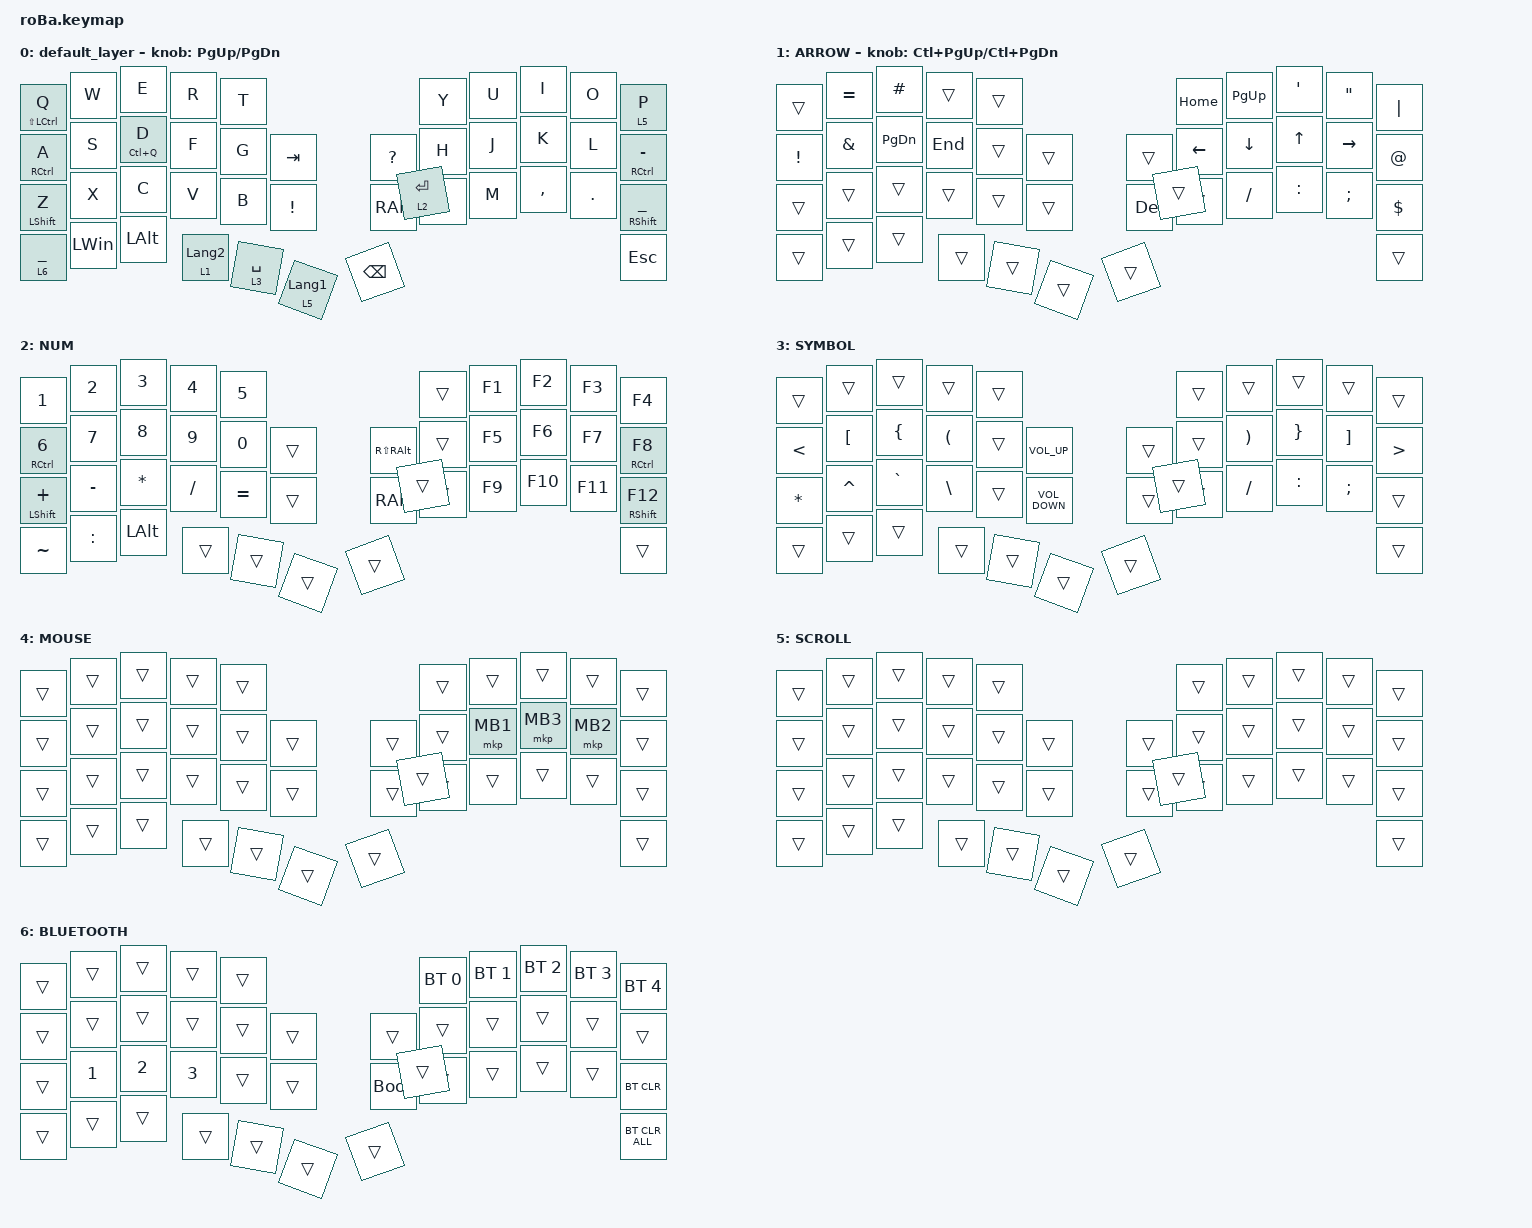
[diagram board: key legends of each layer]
#include <input/processors.dtsi>
#include <behaviors.dtsi>
#include <dt-bindings/zmk/bt.h>
#include <dt-bindings/zmk/keys.h>
#include <dt-bindings/zmk/pointing.h>

&mt {
    flavor = "balanced";
    quick-tap-ms = <0>;
};

&trackball {
    scroll-layers = <5>;

    // arrows {
    //     layers = <3>;
    //     bindings =
    //         <&kp RIGHT_ARROW>,
    //         <&kp LEFT_ARROW>,
    //         <&kp UP_ARROW>,
    //         <&kp DOWN_ARROW>;
    //     tick = <10>;
    //     wait-ms = <5>;
    //     tap-ms = <5>;
    // };
};

&mkp_input_listener { input-processors = <&automouse_temp_layer 4 700>; };

/ {
    combos {
        compatible = "zmk,combos";

        shft+up {
            bindings = <&kp RS(UP_ARROW)>;
            key-positions = <19 20>;
        };
    };

    macros {
        to_layer_0: to_layer_0 {
            compatible = "zmk,behavior-macro-one-param";
            #binding-cells = <1>;
            bindings = <&to 0 &macro_param_1to1 &kp MACRO_PLACEHOLDER>;
            label = "TO_LAYER_0";
        };
    };

    behaviors {
        lt_to_layer_0: lt_to_layer_0 {
            compatible = "zmk,behavior-hold-tap";
            label = "LAYER_TAP_TO_0";
            bindings = <&mo>, <&to_layer_0>;

            #binding-cells = <2>;
            tapping-term-ms = <200>;
        };
    };

    keymap {
        compatible = "zmk,keymap";

        default_layer {
            bindings = <
&mt LS(LCTRL) Q   &kp W         &kp E         &kp R                        &kp T                                                        &kp Y                   &kp U  &kp I      &kp O    &lt 5 P
&mt RCTRL A       &kp S         &mt LC(Q) D   &kp F                        &kp G        &kp TAB                          &kp QUESTION   &kp H                   &kp J  &kp K      &kp L    &mt RCTRL MINUS
&mt LEFT_SHIFT Z  &kp X         &kp C         &kp V                        &kp B        &kp EXCL                         &kp RIGHT_ALT  &kp N                   &kp M  &kp COMMA  &kp DOT  &mt RIGHT_SHIFT UNDER
&lt 6 UNDER       &kp LEFT_WIN  &kp LEFT_ALT  &lt_to_layer_0 1 LANGUAGE_2  &lt 3 SPACE  &lt_to_layer_0 5 LANGUAGE_1      &kp BACKSPACE  &lt_to_layer_0 2 ENTER                             &kp ESCAPE
            >;

            sensor-bindings = <&inc_dec_kp PG_UP PAGE_DOWN>;
        };

        ARROW {
            bindings = <
&trans           &kp EQUAL      &kp HASH       &trans   &trans                       &kp HOME  &kp PAGE_UP  &kp SINGLE_QUOTE  &kp DOUBLE_QUOTES  &kp PIPE
&kp EXCLAMATION  &kp AMPERSAND  &kp PAGE_DOWN  &kp END  &trans  &trans      &trans   &kp LEFT  &kp DOWN     &kp UP            &kp RIGHT_ARROW    &kp AT
&trans           &trans         &trans         &trans   &trans  &trans      &kp DEL  &trans    &kp SLASH    &kp COLON         &kp SEMI           &kp DOLLAR
&trans           &trans         &trans         &trans   &trans  &trans      &trans   &trans                                                      &trans
            >;

            sensor-bindings = <&inc_dec_kp LC(PAGE_UP) LC(PAGE_DOWN)>;
        };

        NUM {
            bindings = <
&kp NUMBER_1         &kp NUMBER_2  &kp NUMBER_3  &kp NUMBER_4  &kp NUMBER_5                                 &trans  &kp F1  &kp F2   &kp F3   &kp F4
&mt RCTRL NUMBER_6   &kp NUMBER_7  &kp NUMBER_8  &kp NUMBER_9  &kp NUMBER_0  &trans      &kp RS(RIGHT_ALT)  &trans  &kp F5  &kp F6   &kp F7   &mt RCTRL F8
&mt LEFT_SHIFT PLUS  &kp MINUS     &kp ASTRK     &kp SLASH     &kp EQUAL     &trans      &kp RIGHT_ALT      &trans  &kp F9  &kp F10  &kp F11  &mt RIGHT_SHIFT F12
&kp TILDE            &kp COLON     &kp LEFT_ALT  &trans        &trans        &trans      &trans             &trans                            &trans
            >;
        };

        SYMBOL {
            bindings = <
&trans         &trans            &trans          &trans                &trans                                 &trans  &trans                 &trans           &trans             &trans
&kp LESS_THAN  &kp LEFT_BRACKET  &kp LEFT_BRACE  &kp LEFT_PARENTHESIS  &trans  &kp C_VOLUME_UP        &trans  &trans  &kp RIGHT_PARENTHESIS  &kp RIGHT_BRACE  &kp RIGHT_BRACKET  &kp GREATER_THAN
&kp ASTERISK   &kp CARET         &kp GRAVE       &kp BACKSLASH         &trans  &kp C_VOLUME_DOWN      &trans  &trans  &kp SLASH              &kp COLON        &kp SEMI           &trans
&trans         &trans            &trans          &trans                &trans  &trans                 &trans  &trans                                                             &trans
            >;
        };

        MOUSE {
            bindings = <
&trans  &trans  &trans  &trans  &trans                      &trans  &trans    &trans    &trans    &trans
&trans  &trans  &trans  &trans  &trans  &trans      &trans  &trans  &mkp MB1  &mkp MB3  &mkp MB2  &trans
&trans  &trans  &trans  &trans  &trans  &trans      &trans  &trans  &trans    &trans    &trans    &trans
&trans  &trans  &trans  &trans  &trans  &trans      &trans  &trans                                &trans
            >;
        };

        SCROLL {
            bindings = <
&trans  &trans  &trans  &trans  &trans                      &trans  &trans  &trans  &trans  &trans
&trans  &trans  &trans  &trans  &trans  &trans      &trans  &trans  &trans  &trans  &trans  &trans
&trans  &trans  &trans  &trans  &trans  &trans      &trans  &trans  &trans  &trans  &trans  &trans
&trans  &trans  &trans  &trans  &trans  &trans      &trans  &trans                          &trans
            >;
        };

        BLUETOOTH {
            bindings = <
&trans  &trans        &trans        &trans        &trans                           &bt BT_SEL 0  &bt BT_SEL 1  &bt BT_SEL 2  &bt BT_SEL 3  &bt BT_SEL 4
&trans  &trans        &trans        &trans        &trans  &trans      &trans       &trans        &trans        &trans        &trans        &trans
&trans  &kp NUMBER_1  &kp NUMBER_2  &kp NUMBER_3  &trans  &trans      &bootloader  &trans        &trans        &trans        &trans        &bt BT_CLR
&trans  &trans        &trans        &trans        &trans  &trans      &trans       &trans                                                  &bt BT_CLR_ALL
            >;
        };
    };
};
